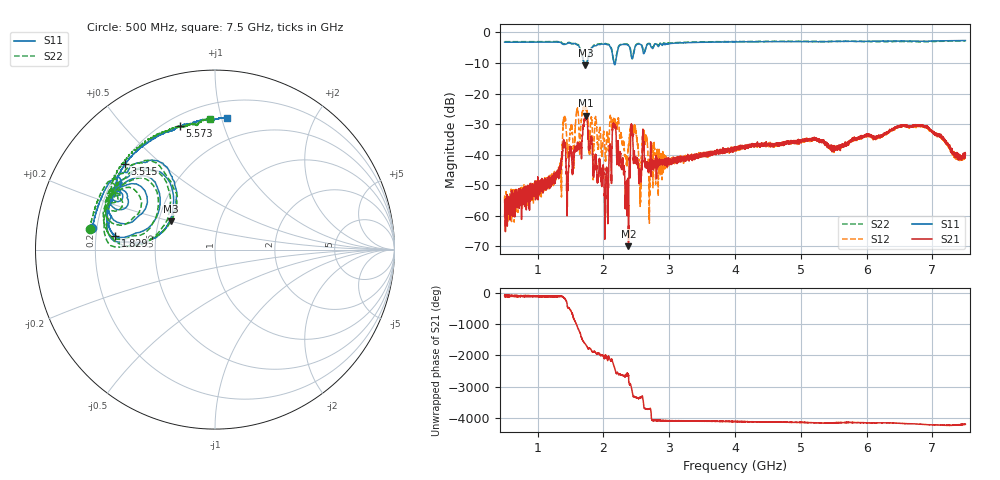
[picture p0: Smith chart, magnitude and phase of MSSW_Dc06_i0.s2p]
!Keysight Technologies,M9374A,MY55442783,A.12.55.05
!Date: Thursday, May 20, 2021 12:41:36
!Correction: S11(Full 2 Port(1,2))
!S21(Full 2 Port(1,2))
!S12(Full 2 Port(1,2))
!S22(Full 2 Port(1,2))
!S2P File: Measurements: S11, S21, S12, S22:
# Hz S  RI  R 50
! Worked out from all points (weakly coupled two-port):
!   7001 points, 500 MHz to 7.5 GHz, reference 50 ohm
!   highest |S21| = -27.27 dB at 1.741 GHz (marker M1); lowest = -69.9 dB at 2.382 GHz (marker M2)
!   lowest |S11| = -10.7 dB at 1.728 GHz (marker M3), VSWR 1.82, Z = 29.1 + j10 ohm
!   |S11| at or under -10 dB: 1.708 GHz to 1.749 GHz (40.49 MHz wide, 2.34 % of centre); 2.162 GHz to 2.183 GHz (20.87 MHz wide, 0.961 % of centre)
!   |S22| runs from -10.7 to -2.7 dB; largest |S21 - S12| = 0.051
!   S11 on the Smith chart (normalised r, x): 500 MHz: 0.18, +0.08; 1.829 GHz: 0.28, +0.06; 3.515 GHz: 0.21, +0.39; 5.573 GHz: 0.26, +0.72; 7.5 GHz: 0.32, +1.04
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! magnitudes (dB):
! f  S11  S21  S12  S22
! 500 MHz  -3.2  -60.0  -55.9  -3.0
! 1.332 GHz  -3.2  -46.0  -46.8  -3.0
! 1.409 GHz  -3.9  -37.0  -27.8  -3.7
! 1.463 GHz  -3.4  -47.2  -41.1  -3.3
! 1.667 GHz  -6.7  -38.4  -28.3  -6.6
! 1.728 GHz  -10.7  -27.4  -25.1  -10.7
! 1.741 GHz  -10.4  -27.3  -24.3  -10.3
! 1.829 GHz  -5.0  -36.6  -29.6  -4.9
! 2.046 GHz  -3.9  -45.4  -35.9  -3.8
! 2.165 GHz  -10.2  -30.2  -28.7  -9.9
! 2.382 GHz  -4.3  -69.9  -36.6  -4.1
! 2.445 GHz  -8.4  -33.2  -30.5  -8.3
! 2.551 GHz  -3.8  -45.9  -49.0  -3.6
! 2.63 GHz  -6.3  -41.1  -34.0  -6.1
! 2.719 GHz  -4.4  -35.7  -39.5  -4.1
! 2.834 GHz  -4.6  -43.8  -53.6  -4.2
! 3.515 GHz  -3.2  -40.0  -40.4  -3.1
! 4 GHz  -3.1  -38.2  -37.8  -3.0
! 5.167 GHz  -3.0  -35.1  -35.2  -2.9
! 5.573 GHz  -2.9  -37.4  -37.3  -2.9
! 6.334 GHz  -2.8  -32.5  -32.2  -3.0
! 7.5 GHz  -2.6  -39.9  -39.9  -2.7
